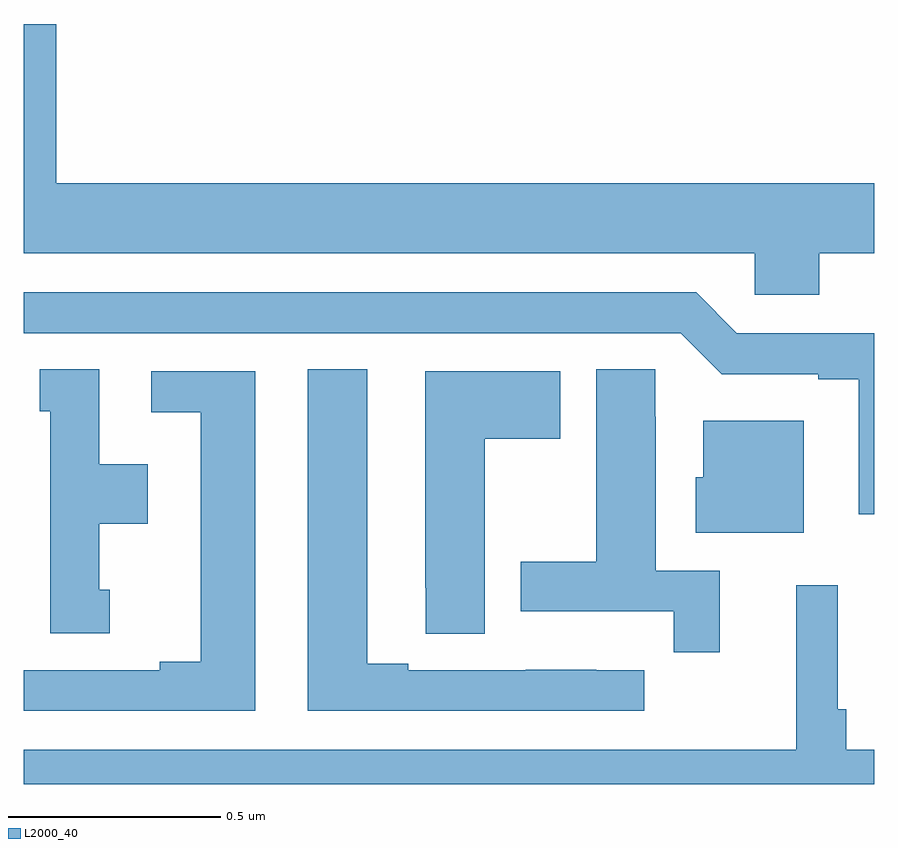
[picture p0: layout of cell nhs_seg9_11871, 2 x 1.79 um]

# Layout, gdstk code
import gdstk
lib = gdstk.Library(unit=1e-6, precision=1e-09)
def P(c, l, *ps):  # polygons
    for p in ps: c.add(gdstk.Polygon(p, *l))
L2000_40 = (2000, 40)

nhs_seg9_11871 = lib.new_cell('nhs_seg9_11871')
P(nhs_seg9_11871, L2000_40, [(262.871,1201.748),(263,1201.748),(263,1201.912),(261.076,1201.912),(261.076,1202.287),(261,1202.287),(261,1201.748),(262.719,1201.748),(262.719,1201.65),(262.871,1201.65)],
  [(263,1201.56),(262.677,1201.56),(262.581,1201.656),(261,1201.656),(261,1201.56),(262.545,1201.56),(262.641,1201.464),(262.868,1201.464),(262.868,1201.452),(262.964,1201.452),(262.964,1201.134),(263,1201.134)],
  [(262.637,1201.002),(262.486,1201.002),(262.486,1201.364),(262.485,1201.364),(262.485,1201.475),(262.346,1201.475),(262.346,1201.023),(262.169,1201.023),(262.169,1200.906),(262.528,1200.906),(262.528,1200.81),(262.637,1200.81)],
  [(262.459,1200.768),(262.346,1200.768),(262.346,1200.769),(262.18,1200.769),(262.18,1200.768),(261.904,1200.768),(261.904,1200.783),(261.808,1200.783),(261.808,1201.475),(261.668,1201.475),(261.668,1200.672),(262.459,1200.672)],
  [(261.202,1200.957),(261.178,1200.957),(261.178,1201.112),(261.292,1201.112),(261.292,1201.252),(261.178,1201.252),(261.178,1201.475),(261.038,1201.475),(261.038,1201.377),(261.062,1201.377),(261.062,1200.855),(261.202,1200.855)],
  [(262.084,1201.312),(262.261,1201.312),(262.261,1201.471),(261.944,1201.471),(261.944,1200.961),(261.945,1200.961),(261.945,1200.853),(262.084,1200.853)],
  [(261.544,1201.47),(261.3,1201.47),(261.3,1201.374),(261.416,1201.374),(261.416,1200.788),(261.32,1200.788),(261.32,1200.768),(261,1200.768),(261,1200.672),(261.544,1200.672)],
  [(262.834,1201.354),(262.598,1201.354),(262.598,1201.221),(262.58,1201.221),(262.58,1201.091),(262.834,1201.091)],
  [(263,1200.58),(262.934,1200.58),(262.934,1200.676),(262.914,1200.676),(262.914,1200.967),(262.817,1200.967),(262.817,1200.58),(261,1200.58),(261,1200.5),(263,1200.5)])

lib.write_gds('nhs_seg9_11871.gds')
